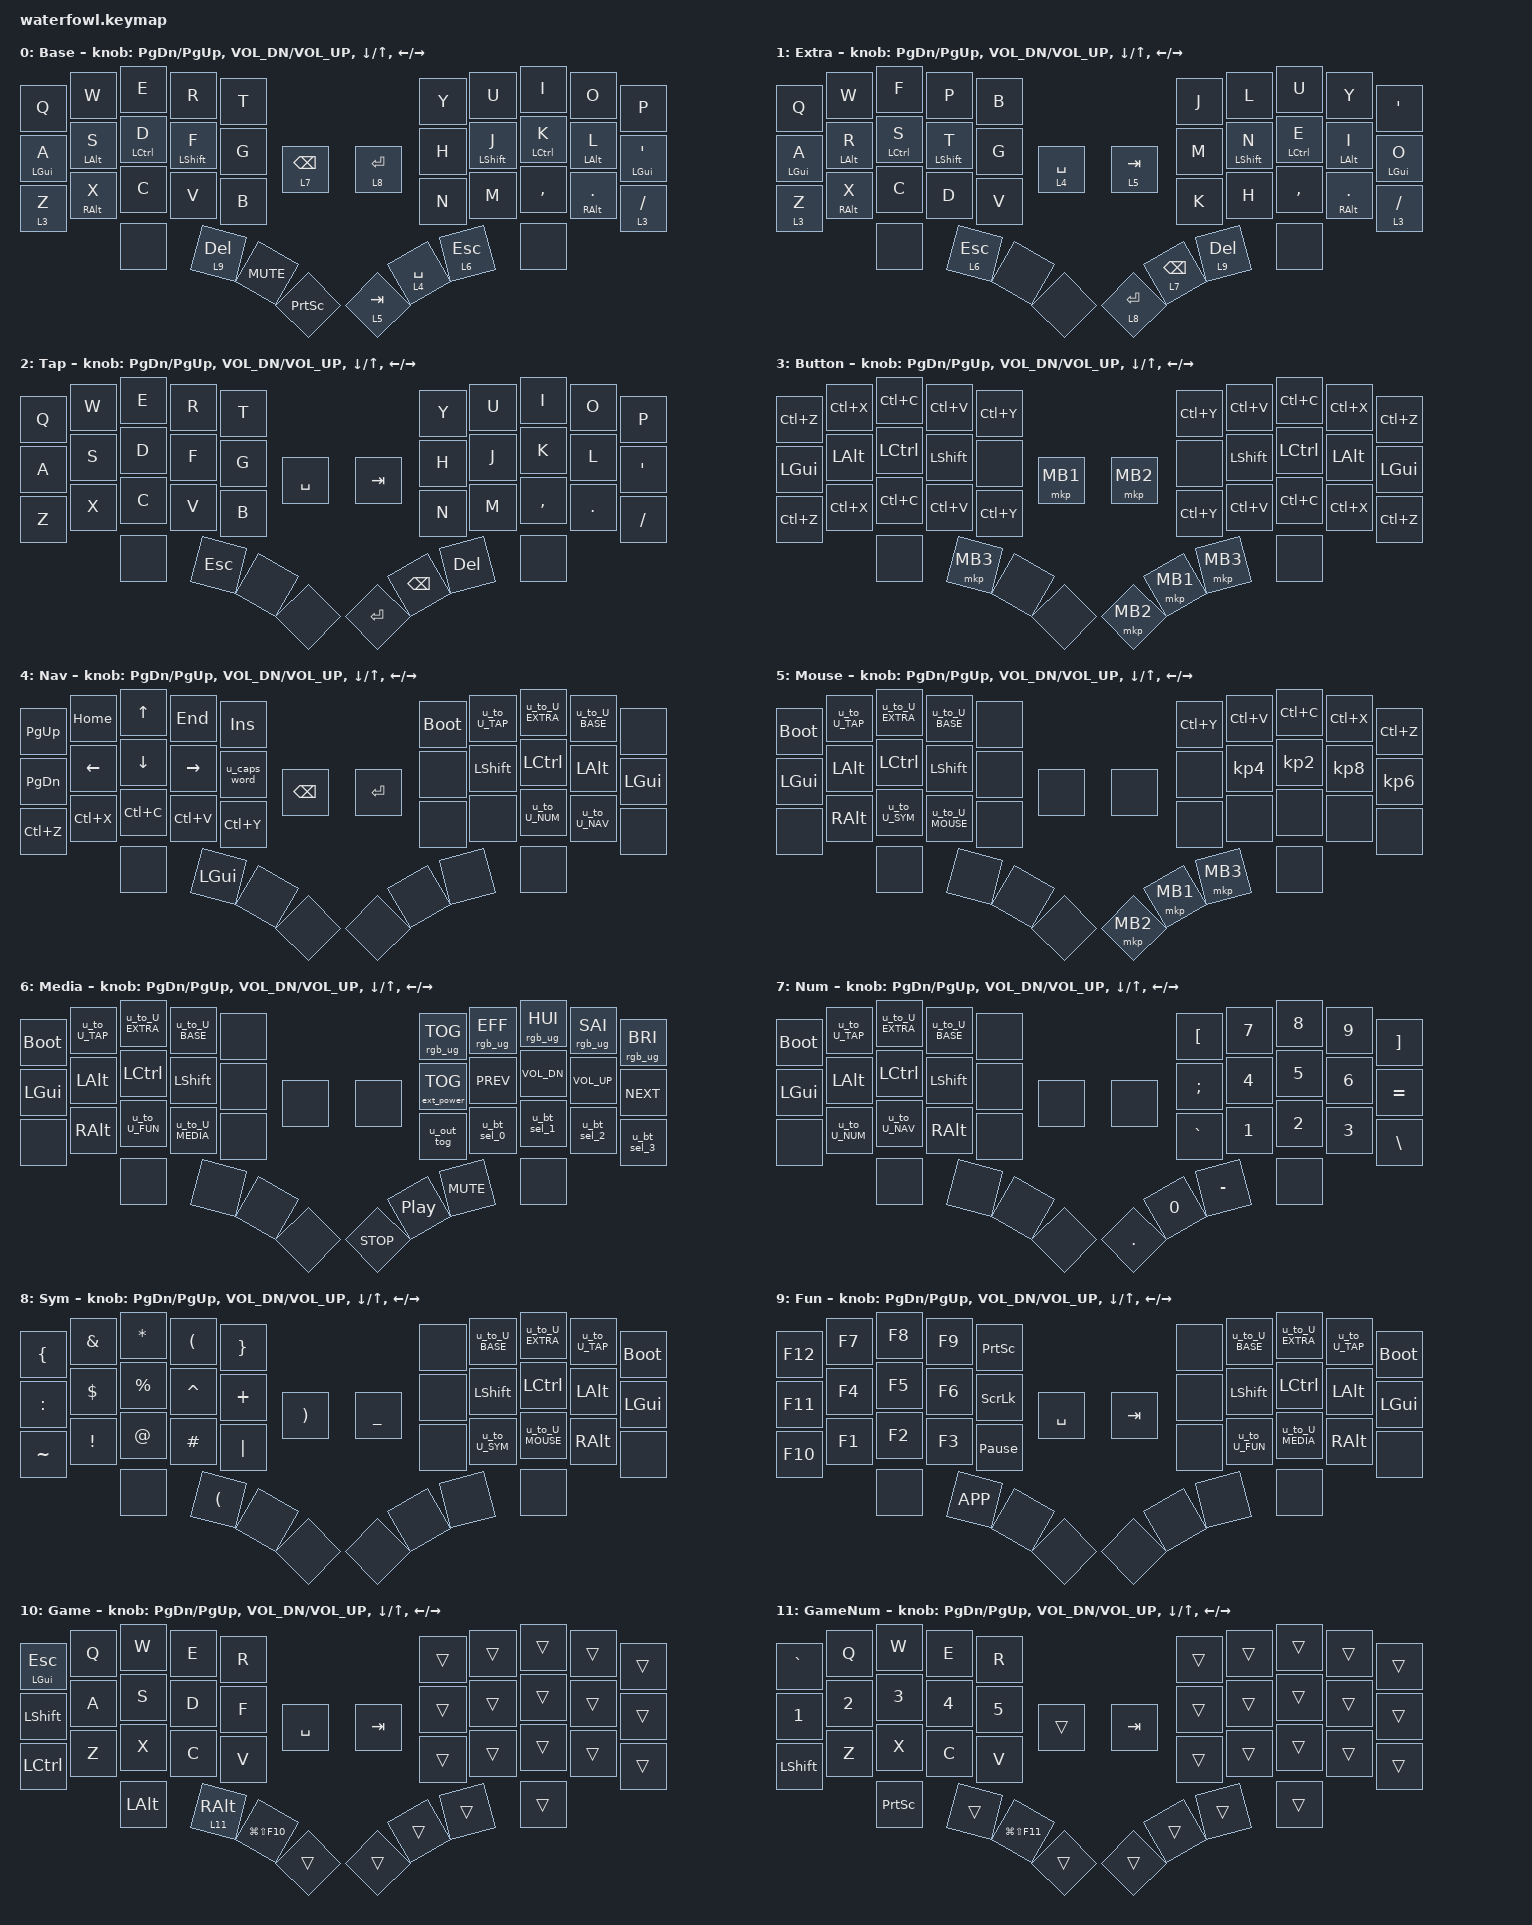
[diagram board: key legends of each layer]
// #line 4 "miryoku/miryoku.dtsi"

#include <behaviors/mouse_key_press.dtsi>

// #line 18 "miryoku/miryoku.dtsi"

#include <behaviors.dtsi>
#include <dt-bindings/zmk/bt.h>
#include <dt-bindings/zmk/ext_power.h>
#include <dt-bindings/zmk/keys.h>
#include <dt-bindings/zmk/mouse.h>
#include <dt-bindings/zmk/outputs.h>
#include <dt-bindings/zmk/rgb.h>

/ {
    combos {
        compatible = "zmk,combos";

        gaming {
            bindings = <&tog 10>;
            key-positions = <14 33>;
        };
    };

    keymap {
        compatible = "zmk,keymap";

        BASE {
            display-name = "Base";
            bindings = <
  &kp Q         &kp W           &kp E          &kp R          &kp T         &kp Y      &kp U          &kp I          &kp O           &kp P
  &u_mt LGUI A  &u_mt LALT S    &u_mt LCTRL D  &u_mt LSHFT F  &kp G         &kp H      &u_mt LSHFT J  &u_mt LCTRL K  &u_mt LALT L    &u_mt LGUI SQT
  &u_lt 3 Z     &u_mt RALT X    &kp C          &kp V          &kp B         &kp N      &kp M          &kp COMMA      &u_mt RALT DOT  &u_lt 3 SLASH
  &none         &u_lt 9 DELETE  &u_lt 7 BSPC   &u_lt 8 RET    &kp C_MUTE    &kp PSCRN  &u_lt 5 TAB    &u_lt 4 SPACE  &u_lt 6 ESC     &none
            >;

            sensor-bindings = < &inc_dec_kp PAGE_DOWN PAGE_UP &inc_dec_kp C_VOL_DN C_VOL_UP &inc_dec_kp DOWN UP &inc_dec_kp LEFT RIGHT>;
        };

        EXTRA {
            display-name = "Extra";
            bindings = <
  &kp Q         &kp W         &kp F          &kp P          &kp B    &kp J  &kp L          &kp U          &kp Y           &kp SQT
  &u_mt LGUI A  &u_mt LALT R  &u_mt LCTRL S  &u_mt LSHFT T  &kp G    &kp M  &u_mt LSHFT N  &u_mt LCTRL E  &u_mt LALT I    &u_mt LGUI O
  &u_lt 3 Z     &u_mt RALT X  &kp C          &kp D          &kp V    &kp K  &kp H          &kp COMMA      &u_mt RALT DOT  &u_lt 3 SLASH
  &none         &u_lt 6 ESC   &u_lt 4 SPACE  &u_lt 5 TAB    &none    &none  &u_lt 8 RET    &u_lt 7 BSPC   &u_lt 9 DEL     &none
            >;

            sensor-bindings = < &inc_dec_kp PAGE_DOWN PAGE_UP &inc_dec_kp C_VOL_DN C_VOL_UP &inc_dec_kp DOWN UP &inc_dec_kp LEFT RIGHT>;
        };

        TAP {
            display-name = "Tap";
            bindings = <
  &kp Q  &kp W    &kp E      &kp R    &kp T    &kp Y  &kp U    &kp I      &kp O    &kp P
  &kp A  &kp S    &kp D      &kp F    &kp G    &kp H  &kp J    &kp K      &kp L    &kp SQT
  &kp Z  &kp X    &kp C      &kp V    &kp B    &kp N  &kp M    &kp COMMA  &kp DOT  &kp SLASH
  &none  &kp ESC  &kp SPACE  &kp TAB  &none    &none  &kp RET  &kp BSPC   &kp DEL  &none
            >;

            sensor-bindings = < &inc_dec_kp PAGE_DOWN PAGE_UP &inc_dec_kp C_VOL_DN C_VOL_UP &inc_dec_kp DOWN UP &inc_dec_kp LEFT RIGHT>;
        };

        BUTTON {
            display-name = "Button";
            bindings = <
  &kp LC(Z)  &kp LC(X)  &kp LC(C)  &kp LC(V)  &kp LC(Y)    &kp LC(Y)  &kp LC(V)  &kp LC(C)  &kp LC(X)  &kp LC(Z)
  &kp LGUI   &kp LALT   &kp LCTRL  &kp LSHFT  &none        &none      &kp LSHFT  &kp LCTRL  &kp LALT   &kp LGUI
  &kp LC(Z)  &kp LC(X)  &kp LC(C)  &kp LC(V)  &kp LC(Y)    &kp LC(Y)  &kp LC(V)  &kp LC(C)  &kp LC(X)  &kp LC(Z)
  &none      &mkp MB3   &mkp MB1   &mkp MB2   &none        &none      &mkp MB2   &mkp MB1   &mkp MB3   &none
            >;

            sensor-bindings = < &inc_dec_kp PAGE_DOWN PAGE_UP &inc_dec_kp C_VOL_DN C_VOL_UP &inc_dec_kp DOWN UP &inc_dec_kp LEFT RIGHT>;
        };

        NAV {
            display-name = "Nav";
            bindings = <
  &kp PG_UP  &kp HOME   &kp UP     &kp END     &kp INS         &bootloader  &u_to_U_TAP  &u_to_U_EXTRA  &u_to_U_BASE  &none
  &kp PG_DN  &kp LEFT   &kp DOWN   &kp RIGHT   &u_caps_word    &none        &kp LSHIFT   &kp LCTRL      &kp LEFT_ALT  &kp LGUI
  &kp LC(Z)  &kp LC(X)  &kp LC(C)  &kp LC(V)   &kp LC(Y)       &none        &none        &u_to_U_NUM    &u_to_U_NAV   &none
  &none      &kp LGUI   &kp BSPC   &kp RETURN  &none           &none        &none        &none          &none         &none
            >;

            sensor-bindings = < &inc_dec_kp PAGE_DOWN PAGE_UP &inc_dec_kp C_VOL_DN C_VOL_UP &inc_dec_kp DOWN UP &inc_dec_kp LEFT RIGHT>;
        };

        MOUSE {
            display-name = "Mouse";
            bindings = <
  &bootloader  &u_to_U_TAP  &u_to_U_EXTRA  &u_to_U_BASE   &none    &kp LC(Y)  &kp LC(V)  &kp LC(C)  &kp LC(X)  &kp LC(Z)
  &kp LGUI     &kp LALT     &kp LCTRL      &kp LSHFT      &none    &none      &kp KP_N4  &kp KP_N2  &kp KP_N8  &kp KP_N6
  &none        &kp RALT     &u_to_U_SYM    &u_to_U_MOUSE  &none    &none      &none      &none      &none      &none
  &none        &none        &none          &none          &none    &none      &mkp MB2   &mkp MB1   &mkp MB3   &none
            >;

            sensor-bindings = < &inc_dec_kp PAGE_DOWN PAGE_UP &inc_dec_kp C_VOL_DN C_VOL_UP &inc_dec_kp DOWN UP &inc_dec_kp LEFT RIGHT>;
        };

        MEDIA {
            display-name = "Media";
            bindings = <
  &bootloader  &u_to_U_TAP  &u_to_U_EXTRA  &u_to_U_BASE   &none    &rgb_ug RGB_TOG    &rgb_ug RGB_EFF  &rgb_ug RGB_HUI  &rgb_ug RGB_SAI  &rgb_ug RGB_BRI
  &kp LGUI     &kp LALT     &kp LCTRL      &kp LSHFT      &none    &ext_power EP_TOG  &kp C_PREV       &kp C_VOL_DN     &kp C_VOL_UP     &kp C_NEXT
  &none        &kp RALT     &u_to_U_FUN    &u_to_U_MEDIA  &none    &u_out_tog         &u_bt_sel_0      &u_bt_sel_1      &u_bt_sel_2      &u_bt_sel_3
  &none        &none        &none          &none          &none    &none              &kp C_STOP       &kp C_PP         &kp C_MUTE       &none
            >;

            sensor-bindings = < &inc_dec_kp PAGE_DOWN PAGE_UP &inc_dec_kp C_VOL_DN C_VOL_UP &inc_dec_kp DOWN UP &inc_dec_kp LEFT RIGHT>;
        };

        NUM {
            display-name = "Num";
            bindings = <
  &bootloader  &u_to_U_TAP  &u_to_U_EXTRA  &u_to_U_BASE  &none        &kp LBKT   &kp N7   &kp N8  &kp N9     &kp RBKT   
  &kp LGUI     &kp LALT     &kp LCTRL      &kp LSHFT     &none        &kp SEMI   &kp N4   &kp N5  &kp N6     &kp EQUAL  
  &none        &u_to_U_NUM  &u_to_U_NAV    &kp RALT      &none        &kp GRAVE  &kp N1   &kp N2  &kp N3     &kp BSLH   
  &none        &none        &none          &none         &none        &none      &kp DOT  &kp N0  &kp MINUS  &none      
            >;

            sensor-bindings = < &inc_dec_kp PAGE_DOWN PAGE_UP &inc_dec_kp C_VOL_DN C_VOL_UP &inc_dec_kp DOWN UP &inc_dec_kp LEFT RIGHT>;
        };

        SYM {
            display-name = "Sym";
            bindings = <
  &kp LBRC   &kp AMPS  &kp ASTRK  &kp LPAR   &kp RBRC    &none  &u_to_U_BASE  &u_to_U_EXTRA  &u_to_U_TAP  &bootloader
  &kp COLON  &kp DLLR  &kp PRCNT  &kp CARET  &kp PLUS    &none  &kp LSHFT     &kp LCTRL      &kp LALT     &kp LGUI
  &kp TILDE  &kp EXCL  &kp AT     &kp HASH   &kp PIPE    &none  &u_to_U_SYM   &u_to_U_MOUSE  &kp RALT     &none
  &none      &kp LPAR  &kp RPAR   &kp UNDER  &none       &none  &none         &none          &none        &none
            >;

            sensor-bindings = < &inc_dec_kp PAGE_DOWN PAGE_UP &inc_dec_kp C_VOL_DN C_VOL_UP &inc_dec_kp DOWN UP &inc_dec_kp LEFT RIGHT>;
        };

        FUN {
            display-name = "Fun";
            bindings = <
  &kp F12  &kp F7     &kp F8     &kp F9   &kp PSCRN          &none  &u_to_U_BASE  &u_to_U_EXTRA  &u_to_U_TAP  &bootloader
  &kp F11  &kp F4     &kp F5     &kp F6   &kp SLCK           &none  &kp LSHFT     &kp LCTRL      &kp LALT     &kp LGUI
  &kp F10  &kp F1     &kp F2     &kp F3   &kp PAUSE_BREAK    &none  &u_to_U_FUN   &u_to_U_MEDIA  &kp RALT     &none
  &none    &kp K_APP  &kp SPACE  &kp TAB  &none              &none  &none         &none          &none        &none
            >;

            sensor-bindings = < &inc_dec_kp PAGE_DOWN PAGE_UP &inc_dec_kp C_VOL_DN C_VOL_UP &inc_dec_kp DOWN UP &inc_dec_kp LEFT RIGHT>;
        };

        GAME {
            display-name = "Game";
            bindings = <
  &u_mt LGUI ESC     &kp Q            &kp W         &kp E    &kp R              &trans  &trans  &trans  &trans  &trans
  &kp LSHFT          &kp A            &kp S         &kp D    &kp F              &trans  &trans  &trans  &trans  &trans
  &kp LCTRL          &kp Z            &kp X         &kp C    &kp V              &trans  &trans  &trans  &trans  &trans
  &kp LALT           &u_lt 11 RALT    &kp SPACE     &kp TAB  &kp LG(LS(F10))    &trans  &trans  &trans  &trans  &trans
            >;

            sensor-bindings = < &inc_dec_kp PAGE_DOWN PAGE_UP &inc_dec_kp C_VOL_DN C_VOL_UP &inc_dec_kp DOWN UP &inc_dec_kp LEFT RIGHT>;
        };

        GAMENUM {
            display-name = "GameNum";
            bindings = <
  &kp GRAVE         &kp Q     &kp W      &kp E    &kp R              &trans  &trans  &trans  &trans  &trans
  &kp N1            &kp N2    &kp N3     &kp N4   &kp N5             &trans  &trans  &trans  &trans  &trans
  &kp LSHFT         &kp Z     &kp X      &kp C    &kp V              &trans  &trans  &trans  &trans  &trans
  &kp PRINTSCREEN   &trans    &trans     &kp TAB  &kp LG(LS(F11))    &trans  &trans  &trans  &trans  &trans
            >;

            sensor-bindings = < &inc_dec_kp PAGE_DOWN PAGE_UP &inc_dec_kp C_VOL_DN C_VOL_UP &inc_dec_kp DOWN UP &inc_dec_kp LEFT RIGHT>;
        };
    };
};

// #line 20 "miryoku/miryoku_shift_functions.dtsi"

/ {
    macros {
        u_macro_u_bt_sel_0: u_macro_u_bt_sel_0 {
            compatible = "zmk,behavior-macro";
            #binding-cells = <0>;
            wait-ms = <0>;
            bindings = <&bt BT_SEL 0 &bt BT_CLR>;
        };
    };
};

/ {
    behaviors {
        u_bt_sel_0: u_bt_sel_0 {
            compatible = "zmk,behavior-mod-morph";
            #binding-cells = <0>;
            bindings = <&bt BT_SEL 0>, <&u_macro_u_bt_sel_0>;

            mods = <(MOD_LSFT|MOD_RSFT)>;
        };
    };
};

/ {
    macros {
        u_macro_u_bt_sel_1: u_macro_u_bt_sel_1 {
            compatible = "zmk,behavior-macro";
            #binding-cells = <0>;
            wait-ms = <0>;
            bindings = <&bt BT_SEL 1 &bt BT_CLR>;
        };
    };
};

/ {
    behaviors {
        u_bt_sel_1: u_bt_sel_1 {
            compatible = "zmk,behavior-mod-morph";
            #binding-cells = <0>;
            bindings = <&bt BT_SEL 1>, <&u_macro_u_bt_sel_1>;

            mods = <(MOD_LSFT|MOD_RSFT)>;
        };
    };
};

/ {
    macros {
        u_macro_u_bt_sel_2: u_macro_u_bt_sel_2 {
            compatible = "zmk,behavior-macro";
            #binding-cells = <0>;
            wait-ms = <0>;
            bindings = <&bt BT_SEL 2 &bt BT_CLR>;
        };
    };
};

/ {
    behaviors {
        u_bt_sel_2: u_bt_sel_2 {
            compatible = "zmk,behavior-mod-morph";
            #binding-cells = <0>;
            bindings = <&bt BT_SEL 2>, <&u_macro_u_bt_sel_2>;

            mods = <(MOD_LSFT|MOD_RSFT)>;
        };
    };
};

/ {
    macros {
        u_macro_u_bt_sel_3: u_macro_u_bt_sel_3 {
            compatible = "zmk,behavior-macro";
            #binding-cells = <0>;
            wait-ms = <0>;
            bindings = <&bt BT_SEL 3 &bt BT_CLR>;
        };
    };
};

/ {
    behaviors {
        u_bt_sel_3: u_bt_sel_3 {
            compatible = "zmk,behavior-mod-morph";
            #binding-cells = <0>;
            bindings = <&bt BT_SEL 3>, <&u_macro_u_bt_sel_3>;

            mods = <(MOD_LSFT|MOD_RSFT)>;
        };
    };
};

/ {
    macros {
        u_macro_u_bt_sel_4: u_macro_u_bt_sel_4 {
            compatible = "zmk,behavior-macro";
            #binding-cells = <0>;
            wait-ms = <0>;
            bindings = <&bt BT_SEL 4 &bt BT_CLR>;
        };
    };
};

/ {
    behaviors {
        u_bt_sel_4: u_bt_sel_4 {
            compatible = "zmk,behavior-mod-morph";
            #binding-cells = <0>;
            bindings = <&bt BT_SEL 4>, <&u_macro_u_bt_sel_4>;

            mods = <(MOD_LSFT|MOD_RSFT)>;
        };
    };
};

/ {
    behaviors {
        u_out_tog: u_out_tog {
            compatible = "zmk,behavior-mod-morph";
            #binding-cells = <0>;
            bindings = <&out OUT_TOG>, <&out OUT_USB>;

            mods = <(MOD_LSFT|MOD_RSFT)>;
        };
    };
};

/ {
    behaviors {
        u_caps_word: u_caps_word {
            compatible = "zmk,behavior-mod-morph";
            #binding-cells = <0>;
            bindings = <&caps_word>, <&kp CAPS>;

            mods = <(MOD_LSFT|MOD_RSFT)>;
        };
    };
};

// #line 18 "miryoku/miryoku_double_tap_guard.dtsi"

/ {
    behaviors {
        u_to_U_BASE: u_to_U_BASE {
            compatible = "zmk,behavior-tap-dance";
            #binding-cells = <0>;
            tapping-term-ms = <200>;
            bindings = <&none>, <&to 0>;
        };
    };
};

/ {
    behaviors {
        u_to_U_EXTRA: u_to_U_EXTRA {
            compatible = "zmk,behavior-tap-dance";
            #binding-cells = <0>;
            tapping-term-ms = <200>;
            bindings = <&none>, <&to 1>;
        };
    };
};

/ {
    behaviors {
        u_to_U_TAP: u_to_U_TAP {
            compatible = "zmk,behavior-tap-dance";
            #binding-cells = <0>;
            tapping-term-ms = <200>;
            bindings = <&none>, <&to 2>;
        };
    };
};

/ {
    behaviors {
        u_to_U_BUTTON: u_to_U_BUTTON {
            compatible = "zmk,behavior-tap-dance";
            #binding-cells = <0>;
            tapping-term-ms = <200>;
            bindings = <&none>, <&to 3>;
        };
    };
};

/ {
    behaviors {
        u_to_U_NAV: u_to_U_NAV {
            compatible = "zmk,behavior-tap-dance";
            #binding-cells = <0>;
            tapping-term-ms = <200>;
            bindings = <&none>, <&to 4>;
        };
    };
};

/ {
    behaviors {
        u_to_U_MOUSE: u_to_U_MOUSE {
            compatible = "zmk,behavior-tap-dance";
            #binding-cells = <0>;
            tapping-term-ms = <200>;
            bindings = <&none>, <&to 5>;
        };
    };
};

/ {
    behaviors {
        u_to_U_MEDIA: u_to_U_MEDIA {
            compatible = "zmk,behavior-tap-dance";
            #binding-cells = <0>;
            tapping-term-ms = <200>;
            bindings = <&none>, <&to 6>;
        };
    };
};

/ {
    behaviors {
        u_to_U_NUM: u_to_U_NUM {
            compatible = "zmk,behavior-tap-dance";
            #binding-cells = <0>;
            tapping-term-ms = <200>;
            bindings = <&none>, <&to 7>;
        };
    };
};

/ {
    behaviors {
        u_to_U_SYM: u_to_U_SYM {
            compatible = "zmk,behavior-tap-dance";
            #binding-cells = <0>;
            tapping-term-ms = <200>;
            bindings = <&none>, <&to 8>;
        };
    };
};

/ {
    behaviors {
        u_to_U_FUN: u_to_U_FUN {
            compatible = "zmk,behavior-tap-dance";
            #binding-cells = <0>;
            tapping-term-ms = <200>;
            bindings = <&none>, <&to 9>;
        };
    };
};

// #line 4 "miryoku/miryoku_mousekeys.dtsi"

/ {
    macros {
        u_macro_btn1: u_macro_btn1 {
            compatible = "zmk,behavior-macro";
            #binding-cells = <0>;
            wait-ms = <0>;
            bindings = <&kp KP_SLASH &kp KP_N5>;
        };
    };
};

/ {
    macros {
        u_macro_btn2: u_macro_btn2 {
            compatible = "zmk,behavior-macro";
            #binding-cells = <0>;
            wait-ms = <0>;
            bindings = <&kp KP_MINUS &kp KP_N5>;
        };
    };
};

/ {
    macros {
        u_macro_btn3: u_macro_btn3 {
            compatible = "zmk,behavior-macro";
            #binding-cells = <0>;
            wait-ms = <0>;
            bindings = <&kp KP_ASTERISK &kp KP_N5>;
        };
    };
};

// #line 4 "miryoku/miryoku_behaviors.dtsi"

/ {
    behaviors {
        u_mt: u_mt {
            compatible = "zmk,behavior-hold-tap";
            #binding-cells = <2>;
            tapping-term-ms = <200>;
            flavor = "tap-preferred";
            bindings = <&kp>, <&kp>;
        };

        u_lt: u_lt {
            compatible = "zmk,behavior-hold-tap";
            #binding-cells = <2>;
            tapping-term-ms = <200>;
            flavor = "tap-preferred";
            bindings = <&mo>, <&kp>;
        };
    };
};
